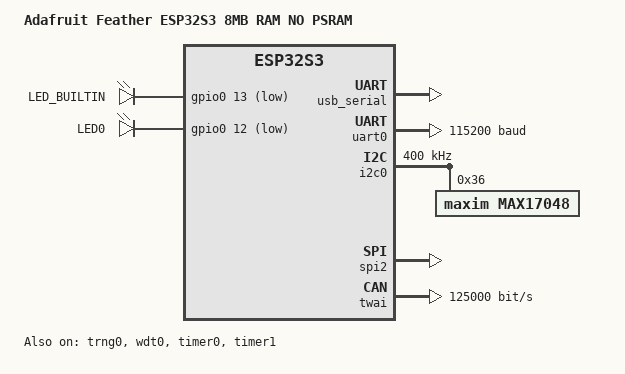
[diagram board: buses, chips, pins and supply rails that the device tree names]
/*
 * Copyright (c) 2023 Seeed Studio inc.
 *
 * SPDX-License-Identifier: Apache-2.0
 */

/dts-v1/;

#include <espressif/esp32s3/esp32s3_wroom_n8r8.dtsi>
#include "feather_esp32s3-pinctrl.dtsi"
#include "feather_esp32_connector.dtsi"

/ {
	model = "Adafruit Feather ESP32S3 8MB RAM NO PSRAM";
	compatible = "adafruit,feather-esp32s3";

	chosen {
		zephyr,sram = &sram0;
		zephyr,console = &usb_serial;
		zephyr,shell-uart = &usb_serial;
		zephyr,flash = &flash0;
	};

	aliases {
		i2c-0 = &i2c0;
		watchdog0 = &wdt0;
		led-built-in = &led0;
		led1 = &led1;
	};

	leds {
		compatible = "gpio-leds";
		led0: led_0 {
			gpios = <&gpio0 13 GPIO_ACTIVE_LOW>;
			label = "LED_BUILTIN";
		};
		led1: led_1 {
			gpios = <&gpio0 12 GPIO_ACTIVE_LOW>;
			label = "LED0";
		};
	};
};

&cpu0 {
	clock-frequency = <ESP32_CLK_CPU_240M>;
};

&cpu1 {
	clock-frequency = <ESP32_CLK_CPU_240M>;
};

&usb_serial {
	status = "okay";
};

&uart0 {
	status = "okay";
	current-speed = <115200>;
	pinctrl-0 = <&uart0_default>;
	pinctrl-names = "default";
};

&i2c0 {
	status = "okay";
	clock-frequency = <I2C_BITRATE_FAST>;
	pinctrl-0 = <&i2c0_default>;
	pinctrl-names = "default";

	bme280@77 {
		compatible = "bosch,bme280";
		reg = <0x77>;
		status = "disabled";
	};

	max17048@36 {
		compatible = "maxim,max17048";
		reg = <0x36>;
		status = "okay";
	};
};

&trng0 {
	status = "okay";
};

&spi2 {
	#address-cells = <1>;
	#size-cells = <0>;
	status = "okay";
	pinctrl-0 = <&spim2_default>;
	pinctrl-names = "default";
};

&gpio0 {
	status = "okay";
};

&wdt0 {
	status = "okay";
};

&twai {
	pinctrl-0 = <&twai_default>;
	pinctrl-names = "default";
	bus-speed = <125000>;
};

&timer0 {
	status = "okay";
};

&timer1 {
	status = "okay";
};

&flash0 {
	status = "okay";
	partitions {
		compatible = "fixed-partitions";
		#address-cells = <1>;
		#size-cells = <1>;

		boot_partition: partition@0 {
			label = "mcuboot";
			reg = <0x00000000 0x0000F000>;
			read-only;
		};

		slot0_partition: partition@10000 {
			label = "image-0";
			reg = <0x00010000 0x00100000>;
		};

		slot1_partition: partition@110000 {
			label = "image-1";
			reg = <0x00110000 0x00100000>;
		};

		scratch_partition: partition@210000 {
			label = "image-scratch";
			reg = <0x00210000 0x00040000>;
		};

		storage_partition: partition@250000 {
			label = "storage";
			reg = <0x00250000 0x00006000>;
		};
	};
};
